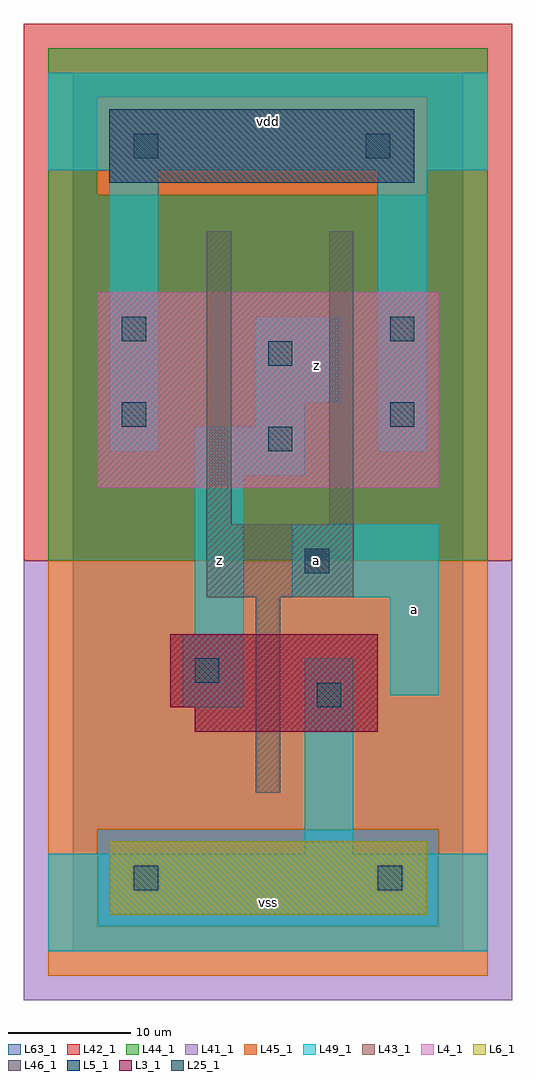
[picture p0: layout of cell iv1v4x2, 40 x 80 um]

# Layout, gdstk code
import gdstk
lib = gdstk.Library(unit=1e-6, precision=1e-09)
def R(c, l, rs):  # rectangles x0, y0, x1, y1
    for r in rs: c.add(gdstk.rectangle(r[:2], r[2:], *l))
L3_1 = (3, 1)
L4_1 = (4, 1)
L5_1 = (5, 1)
L6_1 = (6, 1)
L25_1 = (25, 1)
L41_1 = (41, 1)
L42_1 = (42, 1)
L43_1 = (43, 1)
L44_1 = (44, 1)
L45_1 = (45, 1)
L46_1 = (46, 1)
L49_1 = (49, 1)
L63_1 = (63, 1)

iv1v4x2 = lib.new_cell('iv1v4x2')
R(iv1v4x2, L3_1, [(10,18,25,20), (8,20,25,26)])
R(iv1v4x2, L4_1, [(2,38,30,54)])
R(iv1v4x2, L5_1, [(3,63,28,69)])
R(iv1v4x2, L6_1, [(3,3,29,9), (3,3,29,9)])
R(iv1v4x2, L25_1, [(5,5,7,7), (25,5,27,7), (20,20,22,22), (10,22,12,24), (19,31,21,33), (16,41,18,43), (4,43,6,45), (26,43,28,45), (16,48,18,50), (4,50,6,52), (26,50,28,52), (5,65,7,67), (24,65,26,67)])
R(iv1v4x2, L41_1, [(-4,-4,36,32)])
R(iv1v4x2, L42_1, [(-4,32,36,76)])
R(iv1v4x2, L43_1, [(3,3,29,9), (10,18,25,20), (8,20,25,26), (2,38,30,54), (3,63,28,69)])
R(iv1v4x2, L44_1, [(2,2,30,10), (-2,32,34,62), (-2,62,2,70), (29,62,34,70), (-2,70,34,74)])
R(iv1v4x2, L45_1, [(-2,-2,34,2), (-2,2,2,10), (30,2,34,10), (-2,10,34,32), (2,62,29,70)])
R(iv1v4x2, L46_1, [(15,13,17,29), (11,29,23,35), (11,35,13,59), (21,35,23,59)])
R(iv1v4x2, L49_1, [(-2,0,34,8), (19,8,23,24), (9,20,14,26), (26,21,30,29), (10,26,14,39), (18,29,30,35), (10,39,19,43), (3,41,7,64), (25,41,29,64), (15,43,19,45), (15,45,22,52), (-2,64,34,72)])
R(iv1v4x2, L63_1, [(0,0,32,72)])
iv1v4x2.add(gdstk.Label('z', (12,32), layer=49, texttype=1))
iv1v4x2.add(gdstk.Label('vss', (16,4), layer=49, texttype=1))
iv1v4x2.add(gdstk.Label('a', (20,32), layer=49, texttype=1))
iv1v4x2.add(gdstk.Label('z', (20,48), layer=49, texttype=1))
iv1v4x2.add(gdstk.Label('vdd', (16,68), layer=49, texttype=1))
iv1v4x2.add(gdstk.Label('a', (28,28), layer=49, texttype=1))

lib.write_gds('iv1v4x2.gds')
